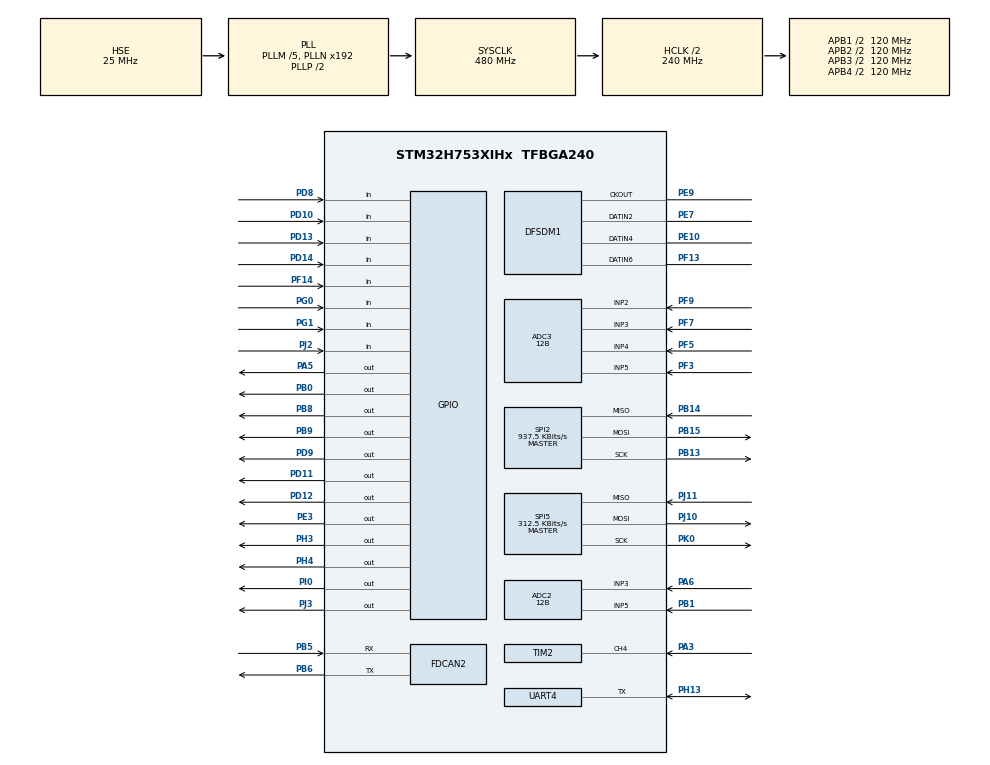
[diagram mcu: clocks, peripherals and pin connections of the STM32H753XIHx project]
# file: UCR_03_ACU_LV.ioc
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ADC2.Channel-0\#ChannelRegularConversion=ADC_CHANNEL_5
ADC2.Channel-1\#ChannelRegularConversion=ADC_CHANNEL_3
ADC2.ClockPrescaler=ADC_CLOCK_ASYNC_DIV256
ADC2.ContinuousConvMode=ENABLE
ADC2.ConversionDataManagement=ADC_CONVERSIONDATA_DMA_CIRCULAR
ADC2.NbrOfConversion=2
ADC2.NbrOfConversionFlag=1
ADC2.OffsetNumber-0\#ChannelRegularConversion=ADC_OFFSET_NONE
ADC2.OffsetNumber-1\#ChannelRegularConversion=ADC_OFFSET_NONE
ADC2.OffsetSignedSaturation-0\#ChannelRegularConversion=DISABLE
ADC2.OffsetSignedSaturation-1\#ChannelRegularConversion=DISABLE
ADC2.Overrun=ADC_OVR_DATA_OVERWRITTEN
ADC2.Rank-0\#ChannelRegularConversion=1
ADC2.Rank-1\#ChannelRegularConversion=2
ADC2.Resolution=ADC_RESOLUTION_12B
ADC2.SamplingTime-0\#ChannelRegularConversion=ADC_SAMPLETIME_16CYCLES_5
ADC2.SamplingTime-1\#ChannelRegularConversion=ADC_SAMPLETIME_16CYCLES_5
ADC3.Channel-0\#ChannelRegularConversion=ADC_CHANNEL_3
ADC3.Channel-1\#ChannelRegularConversion=ADC_CHANNEL_5
ADC3.Channel-2\#ChannelRegularConversion=ADC_CHANNEL_2
ADC3.Channel-3\#ChannelRegularConversion=ADC_CHANNEL_4
ADC3.ClockPrescaler=ADC_CLOCK_ASYNC_DIV256
ADC3.ContinuousConvMode=ENABLE
ADC3.ConversionDataManagement=ADC_CONVERSIONDATA_DMA_CIRCULAR
ADC3.NbrOfConversion=4
ADC3.NbrOfConversionFlag=1
ADC3.OffsetNumber-0\#ChannelRegularConversion=ADC_OFFSET_NONE
ADC3.OffsetNumber-1\#ChannelRegularConversion=ADC_OFFSET_NONE
ADC3.OffsetNumber-2\#ChannelRegularConversion=ADC_OFFSET_NONE
ADC3.OffsetNumber-3\#ChannelRegularConversion=ADC_OFFSET_NONE
ADC3.OffsetSignedSaturation-0\#ChannelRegularConversion=DISABLE
ADC3.OffsetSignedSaturation-1\#ChannelRegularConversion=DISABLE
ADC3.OffsetSignedSaturation-2\#ChannelRegularConversion=DISABLE
ADC3.OffsetSignedSaturation-3\#ChannelRegularConversion=DISABLE
ADC3.Overrun=ADC_OVR_DATA_OVERWRITTEN
ADC3.Rank-0\#ChannelRegularConversion=1
ADC3.Rank-1\#ChannelRegularConversion=2
ADC3.Rank-2\#ChannelRegularConversion=3
ADC3.Rank-3\#ChannelRegularConversion=4
ADC3.Resolution=ADC_RESOLUTION_12B
ADC3.SamplingTime-0\#ChannelRegularConversion=ADC_SAMPLETIME_810CYCLES_5
ADC3.SamplingTime-1\#ChannelRegularConversion=ADC_SAMPLETIME_810CYCLES_5
ADC3.SamplingTime-2\#ChannelRegularConversion=ADC_SAMPLETIME_810CYCLES_5
ADC3.SamplingTime-3\#ChannelRegularConversion=ADC_SAMPLETIME_810CYCLES_5
Bdma.ADC3.0.Direction=DMA_PERIPH_TO_MEMORY
Bdma.ADC3.0.EventEnable=DISABLE
Bdma.ADC3.0.Instance=BDMA_Channel0
Bdma.ADC3.0.MemDataAlignment=DMA_MDATAALIGN_HALFWORD
Bdma.ADC3.0.MemInc=DMA_MINC_ENABLE
Bdma.ADC3.0.Mode=DMA_CIRCULAR
Bdma.ADC3.0.PeriphDataAlignment=DMA_PDATAALIGN_HALFWORD
Bdma.ADC3.0.PeriphInc=DMA_PINC_DISABLE
Bdma.ADC3.0.Polarity=HAL_DMAMUX_REQ_GEN_RISING
Bdma.ADC3.0.Priority=DMA_PRIORITY_LOW
Bdma.ADC3.0.RequestNumber=1
Bdma.ADC3.0.SignalID=NONE
Bdma.ADC3.0.SyncEnable=DISABLE
Bdma.ADC3.0.SyncPolarity=HAL_DMAMUX_SYNC_NO_EVENT
Bdma.ADC3.0.SyncRequestNumber=1
Bdma.ADC3.0.SyncSignalID=NONE
Bdma.Request0=ADC3
Bdma.RequestsNb=1
CORTEX_M7.default_mode_Activation=1
DFSDM1.Divider=30
DFSDM1.DmaMode_reg_FIL0=ENABLE
DFSDM1.DmaMode_reg_FIL1=ENABLE
DFSDM1.DmaMode_reg_FIL2=ENABLE
DFSDM1.Filter_regChannel_FIL0=DFSDM_CHANNEL_2
DFSDM1.Filter_regChannel_FIL1=DFSDM_CHANNEL_4
DFSDM1.Filter_regChannel_FIL2=DFSDM_CHANNEL_6
DFSDM1.Fosr_FIL0=1024
DFSDM1.Fosr_FIL1=1024
DFSDM1.Fosr_FIL2=1024
DFSDM1.Selection=DFSDM_CHANNEL_OUTPUT_CLOCK_SYSTEM
Dma.ADC2.3.Direction=DMA_PERIPH_TO_MEMORY
Dma.ADC2.3.EventEnable=DISABLE
Dma.ADC2.3.FIFOMode=DMA_FIFOMODE_DISABLE
Dma.ADC2.3.Instance=DMA1_Stream3
Dma.ADC2.3.MemDataAlignment=DMA_MDATAALIGN_HALFWORD
Dma.ADC2.3.MemInc=DMA_MINC_ENABLE
Dma.ADC2.3.Mode=DMA_CIRCULAR
Dma.ADC2.3.PeriphDataAlignment=DMA_PDATAALIGN_HALFWORD
Dma.ADC2.3.PeriphInc=DMA_PINC_DISABLE
Dma.ADC2.3.Polarity=HAL_DMAMUX_REQ_GEN_RISING
Dma.ADC2.3.Priority=DMA_PRIORITY_LOW
Dma.ADC2.3.RequestNumber=1
Dma.ADC2.3.SignalID=NONE
Dma.ADC2.3.SyncEnable=DISABLE
Dma.ADC2.3.SyncPolarity=HAL_DMAMUX_SYNC_NO_EVENT
Dma.ADC2.3.SyncRequestNumber=1
Dma.ADC2.3.SyncSignalID=NONE
Dma.DFSDM1_FLT0.0.Direction=DMA_PERIPH_TO_MEMORY
Dma.DFSDM1_FLT0.0.EventEnable=DISABLE
Dma.DFSDM1_FLT0.0.FIFOMode=DMA_FIFOMODE_DISABLE
Dma.DFSDM1_FLT0.0.Instance=DMA1_Stream0
Dma.DFSDM1_FLT0.0.MemDataAlignment=DMA_MDATAALIGN_WORD
Dma.DFSDM1_FLT0.0.MemInc=DMA_MINC_ENABLE
Dma.DFSDM1_FLT0.0.Mode=DMA_CIRCULAR
Dma.DFSDM1_FLT0.0.PeriphDataAlignment=DMA_PDATAALIGN_WORD
Dma.DFSDM1_FLT0.0.PeriphInc=DMA_PINC_DISABLE
Dma.DFSDM1_FLT0.0.Polarity=HAL_DMAMUX_REQ_GEN_RISING
Dma.DFSDM1_FLT0.0.Priority=DMA_PRIORITY_LOW
Dma.DFSDM1_FLT0.0.RequestNumber=1
Dma.DFSDM1_FLT0.0.SignalID=NONE
Dma.DFSDM1_FLT0.0.SyncEnable=DISABLE
Dma.DFSDM1_FLT0.0.SyncPolarity=HAL_DMAMUX_SYNC_NO_EVENT
Dma.DFSDM1_FLT0.0.SyncRequestNumber=1
Dma.DFSDM1_FLT0.0.SyncSignalID=NONE
Dma.DFSDM1_FLT1.1.Direction=DMA_PERIPH_TO_MEMORY
Dma.DFSDM1_FLT1.1.EventEnable=DISABLE
Dma.DFSDM1_FLT1.1.FIFOMode=DMA_FIFOMODE_DISABLE
Dma.DFSDM1_FLT1.1.Instance=DMA1_Stream1
Dma.DFSDM1_FLT1.1.MemDataAlignment=DMA_MDATAALIGN_WORD
Dma.DFSDM1_FLT1.1.MemInc=DMA_MINC_ENABLE
Dma.DFSDM1_FLT1.1.Mode=DMA_CIRCULAR
Dma.DFSDM1_FLT1.1.PeriphDataAlignment=DMA_PDATAALIGN_WORD
Dma.DFSDM1_FLT1.1.PeriphInc=DMA_PINC_DISABLE
Dma.DFSDM1_FLT1.1.Polarity=HAL_DMAMUX_REQ_GEN_RISING
Dma.DFSDM1_FLT1.1.Priority=DMA_PRIORITY_LOW
Dma.DFSDM1_FLT1.1.RequestNumber=1
Dma.DFSDM1_FLT1.1.SignalID=NONE
Dma.DFSDM1_FLT1.1.SyncEnable=DISABLE
Dma.DFSDM1_FLT1.1.SyncPolarity=HAL_DMAMUX_SYNC_NO_EVENT
Dma.DFSDM1_FLT1.1.SyncRequestNumber=1
Dma.DFSDM1_FLT1.1.SyncSignalID=NONE
Dma.DFSDM1_FLT2.2.Direction=DMA_PERIPH_TO_MEMORY
Dma.DFSDM1_FLT2.2.EventEnable=DISABLE
Dma.DFSDM1_FLT2.2.FIFOMode=DMA_FIFOMODE_DISABLE
Dma.DFSDM1_FLT2.2.Instance=DMA1_Stream2
Dma.DFSDM1_FLT2.2.MemDataAlignment=DMA_MDATAALIGN_WORD
Dma.DFSDM1_FLT2.2.MemInc=DMA_MINC_ENABLE
Dma.DFSDM1_FLT2.2.Mode=DMA_CIRCULAR
Dma.DFSDM1_FLT2.2.PeriphDataAlignment=DMA_PDATAALIGN_WORD
Dma.DFSDM1_FLT2.2.PeriphInc=DMA_PINC_DISABLE
Dma.DFSDM1_FLT2.2.Polarity=HAL_DMAMUX_REQ_GEN_RISING
Dma.DFSDM1_FLT2.2.Priority=DMA_PRIORITY_LOW
Dma.DFSDM1_FLT2.2.RequestNumber=1
Dma.DFSDM1_FLT2.2.SignalID=NONE
Dma.DFSDM1_FLT2.2.SyncEnable=DISABLE
Dma.DFSDM1_FLT2.2.SyncPolarity=HAL_DMAMUX_SYNC_NO_EVENT
Dma.DFSDM1_FLT2.2.SyncRequestNumber=1
Dma.DFSDM1_FLT2.2.SyncSignalID=NONE
Dma.Request0=DFSDM1_FLT0
Dma.Request1=DFSDM1_FLT1
Dma.Request2=DFSDM1_FLT2
Dma.Request3=ADC2
FDCAN2.CalculateBaudRateNominal=499999
FDCAN2.CalculateTimeBitNominal=2000
FDCAN2.CalculateTimeQuantumNominal=250.00000000000003
FDCAN2.DataPrescaler=15
FDCAN2.DataSyncJumpWidth=1
FDCAN2.DataTimeSeg1=2
FDCAN2.DataTimeSeg2=1
FDCAN2.FrameFormat=FDCAN_FRAME_FD_BRS
FDCAN2.MessageRAMOffset=0
FDCAN2.Mode=FDCAN_MODE_NORMAL
FDCAN2.NominalPrescaler=30
FDCAN2.NominalSyncJumpWidth=2
FDCAN2.NominalTimeSeg1=5
FDCAN2.NominalTimeSeg2=2
FDCAN2.RxBufferSize=FDCAN_DATA_BYTES_64
FDCAN2.RxFifo0ElmtSize=FDCAN_DATA_BYTES_64
FDCAN2.RxFifo0ElmtsNbr=16
FDCAN2.RxFifo1ElmtSize=FDCAN_DATA_BYTES_64
FDCAN2.RxFifo1ElmtsNbr=16
FDCAN2.TxElmtSize=FDCAN_DATA_BYTES_64
FDCAN2.TxFifoQueueElmtsNbr=16
FREERTOS.Tasks01=TaskManager,24,512,startTaskManager,Default,NULL,Dynamic,NULL,NULL;FastTask,24,512,StartFastTask,Default,NULL,Dynamic,NULL,NULL;MediumTask,24,512,StartMediumTask,Default,NULL,Dynamic,NULL,NULL;SlowTask,24,512,StartSlowTask,Default,NULL,Dynamic,NULL,NULL;CanTx,16,512,StartCanTask,Default,NULL,Dynamic,NULL,NULL;CanRx,17,512,StartCanRx,Default,NULL,Dynamic,NULL,NULL
FREERTOS.configTOTAL_HEAP_SIZE=256000
FREERTOS.configUSE_NEWLIB_REENTRANT=1
Mcu.Family=STM32H7
Mcu.Name=STM32H753XIHx
Mcu.Package=TFBGA240
NVIC.BDMA_Channel0_IRQn=true\:5\:0\:false\:false\:true\:true\:false\:true\:true
NVIC.DMA1_Stream0_IRQn=true\:5\:0\:false\:false\:true\:true\:false\:true\:true
NVIC.DMA1_Stream1_IRQn=true\:5\:0\:false\:false\:true\:true\:false\:true\:true
NVIC.DMA1_Stream2_IRQn=true\:5\:0\:false\:false\:true\:true\:false\:true\:true
NVIC.DMA1_Stream3_IRQn=true\:5\:0\:false\:false\:true\:true\:false\:true\:true
NVIC.FDCAN2_IT0_IRQn=true\:5\:0\:false\:false\:true\:true\:true\:true\:true
NVIC.FDCAN2_IT1_IRQn=true\:5\:0\:false\:false\:true\:true\:true\:true\:true
NVIC.PriorityGroup=NVIC_PRIORITYGROUP_4
NVIC.TIM1_UP_IRQn=true\:15\:0\:false\:false\:true\:false\:false\:true\:true
NVIC.TIM3_IRQn=true\:5\:0\:false\:false\:true\:true\:true\:true\:true
NVIC.TimeBase=TIM1_UP_IRQn
NVIC.TimeBaseIP=TIM1
PA13\ (JTMS/SWDIO).Mode=Serial_Wire
PA13\ (JTMS/SWDIO).Signal=DEBUG_JTMS-SWDIO
PA14\ (JTCK/SWCLK).Mode=Serial_Wire
PA14\ (JTCK/SWCLK).Signal=DEBUG_JTCK-SWCLK
PA3.Signal=S_TIM2_CH4
PA5.Signal=GPIO_Output
PA6.Signal=ADCx_INP3
PB0.Signal=GPIO_Output
PB1.Signal=ADCx_INP5
PB13.Mode=Full_Duplex_Master
PB13.Signal=SPI2_SCK
PB14.Mode=Full_Duplex_Master
PB14.Signal=SPI2_MISO
PB15.Mode=Full_Duplex_Master
PB15.Signal=SPI2_MOSI
PB5.Mode=FDCAN_Activate
PB5.Signal=FDCAN2_RX
PB6.Mode=FDCAN_Activate
PB6.Signal=FDCAN2_TX
PB8.Signal=GPIO_Output
PB9.Signal=GPIO_Output
PC14-OSC32_IN\ (OSC32_IN).Mode=LSE-External-Oscillator
PC14-OSC32_IN\ (OSC32_IN).Signal=RCC_OSC32_IN
PC15-OSC32_OUT\ (OSC32_OUT).Mode=LSE-External-Oscillator
PC15-OSC32_OUT\ (OSC32_OUT).Signal=RCC_OSC32_OUT
PD10.Signal=GPIO_Input
PD11.Signal=GPIO_Output
PD12.Signal=GPIO_Output
PD13.Signal=GPIO_Input
PD14.Signal=GPIO_Input
PD8.Signal=GPIO_Input
PD9.Signal=GPIO_Output
PE10.Signal=S_DATAIN4DFSDM1
PE3.Signal=GPIO_Output
PE7.Signal=S_DATAIN2DFSDM1
PE9.Signal=S_CKOUTDFSDM1
PF13.Signal=S_DATAIN6DFSDM1
PF14.Signal=GPIO_Input
PF3.Mode=IN5-Single-Ended
PF3.Signal=ADC3_INP5
PF5.Mode=IN4-Single-Ended
PF5.Signal=ADC3_INP4
PF7.Mode=IN3-Single-Ended
PF7.Signal=ADC3_INP3
PF9.Mode=IN2-Single-Ended
PF9.Signal=ADC3_INP2
PG0.Signal=GPIO_Input
PG1.Signal=GPIO_Input
PH0-OSC_IN\ (PH0).Mode=HSE-External-Oscillator
PH0-OSC_IN\ (PH0).Signal=RCC_OSC_IN
PH1-OSC_OUT\ (PH1).Mode=HSE-External-Oscillator
PH1-OSC_OUT\ (PH1).Signal=RCC_OSC_OUT
PH13.Mode=Half_duplex(single_wire_mode)
PH13.Signal=UART4_TX
PH3.Signal=GPIO_Output
PH4.Signal=GPIO_Output
PI0.GPIO_ModeDefaultOutputPP=GPIO_MODE_OUTPUT_OD
PI0.GPIO_PuPd=GPIO_NOPULL
PI0.Signal=GPIO_Output
PJ10.Mode=Full_Duplex_Master
PJ10.Signal=SPI5_MOSI
PJ11.Mode=Full_Duplex_Master
PJ11.Signal=SPI5_MISO
PJ2.Signal=GPIO_Input
PJ3.Signal=GPIO_Output
PK0.Mode=Full_Duplex_Master
PK0.Signal=SPI5_SCK
ProjectManager.HeapSize=0x200
ProjectManager.StackSize=0x400
ProjectManager.TargetToolchain=STM32CubeIDE
RCC.ADCFreq_Value=80000000
RCC.APB1Freq_Value=120000000
RCC.APB2Freq_Value=120000000
RCC.APB3Freq_Value=120000000
RCC.APB4Freq_Value=120000000
RCC.CortexFreq_Value=480000000
RCC.D1PPRE=RCC_APB3_DIV2
RCC.D2PPRE1=RCC_APB1_DIV2
RCC.D2PPRE2=RCC_APB2_DIV2
RCC.D3PPRE=RCC_APB4_DIV2
RCC.DIVM1=5
RCC.DIVM2=5
RCC.DIVM3=59
RCC.DIVN1=192
RCC.DIVN2=32
RCC.DIVQ1=8
RCC.HCLKFreq_Value=240000000
RCC.HPRE=RCC_HCLK_DIV2
RCC.PLLSourceVirtual=RCC_PLLSOURCE_HSE
RCC.SYSCLKFreq_VALUE=480000000
RCC.SYSCLKSource=RCC_SYSCLKSOURCE_PLLCLK
RCC.Spi45ClockSelection=RCC_SPI45CLKSOURCE_PLL2
RCC.USBFreq_Value=120000000
SH.ADCx_INP3.0=ADC1_INP3
SH.ADCx_INP3.1=ADC2_INP3,IN3-Single-Ended
SH.ADCx_INP5.0=ADC1_INP5
SH.ADCx_INP5.1=ADC2_INP5,IN5-Single-Ended
SH.S_CKOUTDFSDM1.0=DFSDM1_CKOUT,CKOUT
SH.S_CKOUTDFSDM1.1=DFSDM1_CKOUT,PDM_SPI_input_from_ch2_and_internal_clock
SH.S_CKOUTDFSDM1.2=DFSDM1_CKOUT,PDM_SPI_input_from_ch4_and_internal_clock
SH.S_CKOUTDFSDM1.3=DFSDM1_CKOUT,PDM_SPI_input_from_ch6_and_internal_clock
SH.S_DATAIN2DFSDM1.0=DFSDM1_DATIN2,PDM_SPI_input_from_ch2_and_internal_clock
SH.S_DATAIN4DFSDM1.0=DFSDM1_DATIN4,PDM_SPI_input_from_ch4_and_internal_clock
SH.S_DATAIN6DFSDM1.0=DFSDM1_DATIN6,PDM_SPI_input_from_ch6_and_internal_clock
SH.S_TIM2_CH4.0=TIM2_CH4,Input_Capture4_from_TI4
SPI2.BaudRatePrescaler=SPI_BAUDRATEPRESCALER_128
SPI2.CalculateBaudRate=937.5 KBits/s
SPI2.DataSize=SPI_DATASIZE_8BIT
SPI2.Direction=SPI_DIRECTION_2LINES
SPI2.Mode=SPI_MODE_MASTER
SPI2.VirtualType=VM_MASTER
SPI5.BaudRatePrescaler=SPI_BAUDRATEPRESCALER_256
SPI5.CalculateBaudRate=312.5 KBits/s
SPI5.DataSize=SPI_DATASIZE_8BIT
SPI5.Direction=SPI_DIRECTION_2LINES
SPI5.Mode=SPI_MODE_MASTER
SPI5.VirtualType=VM_MASTER
TIM2.Channel-Input_Capture4_from_TI4=TIM_CHANNEL_4
TIM3.ClockDivision=TIM_CLOCKDIVISION_DIV4
TIM3.Prescaler=65535
VP_FREERTOS_VS_CMSIS_V2.Mode=CMSIS_V2
VP_MEMORYMAP_VS_MEMORYMAP.Mode=CurAppReg
VP_SYS_VS_tim1.Mode=TIM1
VP_TIM3_VS_ClockSourceINT.Mode=Internal
VREF+.Mode=InternalMode
VREF+.Signal=VREFBUF_OUT
board=custom

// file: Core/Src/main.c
/* USER CODE BEGIN Header */
/**
  ******************************************************************************
  * @file           : main.c
  * @brief          : Main program body
  ******************************************************************************
  * @attention
  *
  * Copyright (c) 2026 STMicroelectronics.
  * All rights reserved.
  *
  * This software is licensed under terms that can be found in the LICENSE file
  * in the root directory of this software component.
  * If no LICENSE file comes with this software, it is provided AS-IS.
  *
  ******************************************************************************
  */
/* USER CODE END Header */
#include "main.h"
#include "cmsis_os.h"

/* USER CODE BEGIN Includes */
#include "fast_task.h"
#include "medium_task.h"
#include "slow_task.h"
#include "task_manager.h"
#include "task_can_tx.h"
#include "task_can_rx.h"
#include "can_typ_common.h"
/* USER CODE END Includes */

ADC_HandleTypeDef hadc2;
ADC_HandleTypeDef hadc3;
DMA_HandleTypeDef hdma_adc2;
DMA_HandleTypeDef hdma_adc3;

DFSDM_Filter_HandleTypeDef hdfsdm1_filter0;
DFSDM_Filter_HandleTypeDef hdfsdm1_filter1;
DFSDM_Filter_HandleTypeDef hdfsdm1_filter2;
DFSDM_Channel_HandleTypeDef hdfsdm1_channel2;
DFSDM_Channel_HandleTypeDef hdfsdm1_channel4;
DFSDM_Channel_HandleTypeDef hdfsdm1_channel6;
DMA_HandleTypeDef hdma_dfsdm1_flt0;
DMA_HandleTypeDef hdma_dfsdm1_flt1;
DMA_HandleTypeDef hdma_dfsdm1_flt2;

FDCAN_HandleTypeDef hfdcan2;

SPI_HandleTypeDef hspi2;
SPI_HandleTypeDef hspi5;

TIM_HandleTypeDef htim2;
TIM_HandleTypeDef htim3;

UART_HandleTypeDef huart4;

/* Definitions for TaskManager */
osThreadId_t TaskManagerHandle;
const osThreadAttr_t TaskManager_attributes = {
  .name = "TaskManager",
  .stack_size = 512 * 4,
  .priority = (osPriority_t) osPriorityNormal,
};
/* Definitions for FastTask */
osThreadId_t FastTaskHandle;
const osThreadAttr_t FastTask_attributes = {
  .name = "FastTask",
  .stack_size = 512 * 4,
  .priority = (osPriority_t) osPriorityNormal,
};
/* Definitions for MediumTask */
osThreadId_t MediumTaskHandle;
const osThreadAttr_t MediumTask_attributes = {
  .name = "MediumTask",
  .stack_size = 512 * 4,
  .priority = (osPriority_t) osPriorityNormal,
};
/* Definitions for SlowTask */
osThreadId_t SlowTaskHandle;
const osThreadAttr_t SlowTask_attributes = {
  .name = "SlowTask",
  .stack_size = 512 * 4,
  .priority = (osPriority_t) osPriorityNormal,
};
/* Definitions for CanTx */
osThreadId_t CanTxHandle;
const osThreadAttr_t CanTx_attributes = {
  .name = "CanTx",
  .stack_size = 512 * 4,
  .priority = (osPriority_t) osPriorityBelowNormal,
};
/* Definitions for CanRx */
osThreadId_t CanRxHandle;
const osThreadAttr_t CanRx_attributes = {
  .name = "CanRx",
  .stack_size = 512 * 4,
  .priority = (osPriority_t) osPriorityBelowNormal1,
};
/* USER CODE BEGIN PV */

extern uint8_t precharge_time;

osMessageQueueId_t Can1TxQueueHandle;
const osMessageQueueAttr_t Can1TxQueue_attributes = {
  .name = "Can1TxQueue"
};

osMessageQueueId_t Can1RxQueueHandle;
const osMessageQueueAttr_t Can1RxQueue_attributes = {
  .name = "Can1RxQueue"
};

osMessageQueueId_t Can2TxQueueHandle;
const osMessageQueueAttr_t Can2TxQueue_attributes = {
  .name = "Can2TxQueue"
};

osMessageQueueId_t Can2RxQueueHandle;
const osMessageQueueAttr_t Can2RxQueue_attributes = {
  .name = "Can2RxQueue"
};
/* USER CODE END PV */

void SystemClock_Config(void);
void PeriphCommonClock_Config(void);
static void MPU_Config(void);
static void MX_GPIO_Init(void);
static void MX_DMA_Init(void);
static void MX_BDMA_Init(void);
static void MX_ADC2_Init(void);
static void MX_ADC3_Init(void);
static void MX_DFSDM1_Init(void);
static void MX_FDCAN2_Init(void);
static void MX_SPI2_Init(void);
static void MX_SPI5_Init(void);
static void MX_UART4_Init(void);
static void MX_TIM2_Init(void);
static void MX_TIM3_Init(void);
void startTaskManager(void *argument);
void StartFastTask(void *argument);
void StartMediumTask(void *argument);
void StartSlowTask(void *argument);
void StartCanTask(void *argument);
void StartCanRx(void *argument);

int main(void)
{

  /* MPU Configuration--------------------------------------------------------*/
  MPU_Config();

  /* MCU Configuration--------------------------------------------------------*/

  /* Reset of all peripherals, Initializes the Flash interface and the Systick. */
  HAL_Init();

  /* Configure the system clock */
  SystemClock_Config();

  /* Configure the peripherals common clocks */
  PeriphCommonClock_Config();

  /* Initialize all configured peripherals */
  MX_GPIO_Init();
  MX_DMA_Init();
  MX_BDMA_Init();
  MX_ADC2_Init();
  MX_ADC3_Init();
  MX_DFSDM1_Init();
  MX_FDCAN2_Init();
  MX_SPI2_Init();
  MX_SPI5_Init();
  MX_UART4_Init();
  MX_TIM2_Init();
  MX_TIM3_Init();
  /* USER CODE BEGIN 2 */

//  HAL_FDCAN_Start(&hfdcan2);
//  HAL_FDCAN_ActivateNotification(&hfdcan2, FDCAN_IT_RX_FIFO0_NEW_MESSAGE, 0);
//
//  uint8_t test[64] = {0};
//  test[0] = 0xFF;
//
//
//  FDCAN_TxHeaderTypeDef tx_header;
//
//  tx_header.Identifier = 300;
//  tx_header.IdType = FDCAN_STANDARD_ID;
//  tx_header.TxFrameType = FDCAN_DATA_FRAME;
//  tx_header.DataLength = FDCAN_DLC_BYTES_1;
//  tx_header.ErrorStateIndicator = FDCAN_ESI_ACTIVE;
//  tx_header.BitRateSwitch = FDCAN_BRS_ON;
//  tx_header.FDFormat =  FDCAN_FD_CAN;
//  tx_header.TxEventFifoControl = FDCAN_NO_TX_EVENTS;
//  tx_header.MessageMarker = 0;
//
//  while(1)
//  {
//	  HAL_FDCAN_AddMessageToTxFifoQ(&hfdcan2, &tx_header, (uint8_t *)test);
//	  HAL_Delay(100);
//  }

  /* USER CODE END 2 */

  /* Init scheduler */
  osKernelInitialize();

  /* USER CODE BEGIN RTOS_QUEUES */
  Can1TxQueueHandle = osMessageQueueNew (16, sizeof(can_msg_t), &Can1TxQueue_attributes);
  Can1RxQueueHandle = osMessageQueueNew (16, sizeof(can_msg_t), &Can1RxQueue_attributes);

  Can2TxQueueHandle = osMessageQueueNew (16, sizeof(can_msg_t), &Can2TxQueue_attributes);
  Can2RxQueueHandle = osMessageQueueNew (16, sizeof(can_msg_t), &Can2RxQueue_attributes);
  /* USER CODE END RTOS_QUEUES */

  /* Create the thread(s) */
  /* creation of TaskManager */
  TaskManagerHandle = osThreadNew(startTaskManager, NULL, &TaskManager_attributes);

  /* creation of FastTask */
  FastTaskHandle = osThreadNew(StartFastTask, NULL, &FastTask_attributes);

  /* creation of MediumTask */
  MediumTaskHandle = osThreadNew(StartMediumTask, NULL, &MediumTask_attributes);

  /* creation of SlowTask */
  SlowTaskHandle = osThreadNew(StartSlowTask, NULL, &SlowTask_attributes);

  /* creation of CanTx */
  CanTxHandle = osThreadNew(StartCanTask, NULL, &CanTx_attributes);

  /* creation of CanRx */
  CanRxHandle = osThreadNew(StartCanRx, NULL, &CanRx_attributes);

  /* Start scheduler */
  osKernelStart();

  /* We should never get here as control is now taken by the scheduler */

  /* Infinite loop */
  while (1)
  {

  }
}

void SystemClock_Config(void)
{
  RCC_OscInitTypeDef RCC_OscInitStruct = {0};
  RCC_ClkInitTypeDef RCC_ClkInitStruct = {0};

  /** Supply configuration update enable
  */
  HAL_PWREx_ConfigSupply(PWR_LDO_SUPPLY);

  /** Configure the main internal regulator output voltage
  */
  __HAL_PWR_VOLTAGESCALING_CONFIG(PWR_REGULATOR_VOLTAGE_SCALE0);

  while(!__HAL_PWR_GET_FLAG(PWR_FLAG_VOSRDY)) {}

  /** Initializes the RCC Oscillators according to the specified parameters
  * in the RCC_OscInitTypeDef structure.
  */
  RCC_OscInitStruct.OscillatorType = RCC_OSCILLATORTYPE_HSE;
  RCC_OscInitStruct.HSEState = RCC_HSE_ON;
  RCC_OscInitStruct.PLL.PLLState = RCC_PLL_ON;
  RCC_OscInitStruct.PLL.PLLSource = RCC_PLLSOURCE_HSE;
  RCC_OscInitStruct.PLL.PLLM = 5;
  RCC_OscInitStruct.PLL.PLLN = 192;
  RCC_OscInitStruct.PLL.PLLP = 2;
  RCC_OscInitStruct.PLL.PLLQ = 8;
  RCC_OscInitStruct.PLL.PLLR = 2;
  RCC_OscInitStruct.PLL.PLLRGE = RCC_PLL1VCIRANGE_2;
  RCC_OscInitStruct.PLL.PLLVCOSEL = RCC_PLL1VCOWIDE;
  RCC_OscInitStruct.PLL.PLLFRACN = 0;
  if (HAL_RCC_OscConfig(&RCC_OscInitStruct) != HAL_OK)
  {
    Error_Handler();
  }

  /** Initializes the CPU, AHB and APB buses clocks
  */
  RCC_ClkInitStruct.ClockType = RCC_CLOCKTYPE_HCLK|RCC_CLOCKTYPE_SYSCLK
                              |RCC_CLOCKTYPE_PCLK1|RCC_CLOCKTYPE_PCLK2
                              |RCC_CLOCKTYPE_D3PCLK1|RCC_CLOCKTYPE_D1PCLK1;
  RCC_ClkInitStruct.SYSCLKSource = RCC_SYSCLKSOURCE_PLLCLK;
  RCC_ClkInitStruct.SYSCLKDivider = RCC_SYSCLK_DIV1;
  RCC_ClkInitStruct.AHBCLKDivider = RCC_HCLK_DIV2;
  RCC_ClkInitStruct.APB3CLKDivider = RCC_APB3_DIV2;
  RCC_ClkInitStruct.APB1CLKDivider = RCC_APB1_DIV2;
  RCC_ClkInitStruct.APB2CLKDivider = RCC_APB2_DIV2;
  RCC_ClkInitStruct.APB4CLKDivider = RCC_APB4_DIV2;

  if (HAL_RCC_ClockConfig(&RCC_ClkInitStruct, FLASH_LATENCY_4) != HAL_OK)
  {
    Error_Handler();
  }
}

void PeriphCommonClock_Config(void)
{
  RCC_PeriphCLKInitTypeDef PeriphClkInitStruct = {0};

  /** Initializes the peripherals clock
  */
  PeriphClkInitStruct.PeriphClockSelection = RCC_PERIPHCLK_ADC|RCC_PERIPHCLK_SPI5;
  PeriphClkInitStruct.PLL2.PLL2M = 5;
  PeriphClkInitStruct.PLL2.PLL2N = 32;
  PeriphClkInitStruct.PLL2.PLL2P = 2;
  PeriphClkInitStruct.PLL2.PLL2Q = 2;
  PeriphClkInitStruct.PLL2.PLL2R = 2;
  PeriphClkInitStruct.PLL2.PLL2RGE = RCC_PLL2VCIRANGE_2;
  PeriphClkInitStruct.PLL2.PLL2VCOSEL = RCC_PLL2VCOMEDIUM;
  PeriphClkInitStruct.PLL2.PLL2FRACN = 0;
  PeriphClkInitStruct.Spi45ClockSelection = RCC_SPI45CLKSOURCE_PLL2;
  PeriphClkInitStruct.AdcClockSelection = RCC_ADCCLKSOURCE_PLL2;
  if (HAL_RCCEx_PeriphCLKConfig(&PeriphClkInitStruct) != HAL_OK)
  {
    Error_Handler();
  }
}

static void MX_ADC2_Init(void)
{

  ADC_ChannelConfTypeDef sConfig = {0};

  /** Common config
  */
  hadc2.Instance = ADC2;
  hadc2.Init.ClockPrescaler = ADC_CLOCK_ASYNC_DIV256;
  hadc2.Init.Resolution = ADC_RESOLUTION_12B;
  hadc2.Init.ScanConvMode = ADC_SCAN_ENABLE;
  hadc2.Init.EOCSelection = ADC_EOC_SINGLE_CONV;
  hadc2.Init.LowPowerAutoWait = DISABLE;
  hadc2.Init.ContinuousConvMode = ENABLE;
  hadc2.Init.NbrOfConversion = 2;
  hadc2.Init.DiscontinuousConvMode = DISABLE;
  hadc2.Init.ExternalTrigConv = ADC_SOFTWARE_START;
  hadc2.Init.ExternalTrigConvEdge = ADC_EXTERNALTRIGCONVEDGE_NONE;
  hadc2.Init.ConversionDataManagement = ADC_CONVERSIONDATA_DMA_CIRCULAR;
  hadc2.Init.Overrun = ADC_OVR_DATA_OVERWRITTEN;
  hadc2.Init.LeftBitShift = ADC_LEFTBITSHIFT_NONE;
  hadc2.Init.OversamplingMode = DISABLE;
  hadc2.Init.Oversampling.Ratio = 1;
  if (HAL_ADC_Init(&hadc2) != HAL_OK)
  {
    Error_Handler();
  }

  /** Configure Regular Channel
  */
  sConfig.Channel = ADC_CHANNEL_5;
  sConfig.Rank = ADC_REGULAR_RANK_1;
  sConfig.SamplingTime = ADC_SAMPLETIME_16CYCLES_5;
  sConfig.SingleDiff = ADC_SINGLE_ENDED;
  sConfig.OffsetNumber = ADC_OFFSET_NONE;
  sConfig.Offset = 0;
  sConfig.OffsetSignedSaturation = DISABLE;
  if (HAL_ADC_ConfigChannel(&hadc2, &sConfig) != HAL_OK)
  {
    Error_Handler();
  }

  /** Configure Regular Channel
  */
  sConfig.Channel = ADC_CHANNEL_3;
  sConfig.Rank = ADC_REGULAR_RANK_2;
  if (HAL_ADC_ConfigChannel(&hadc2, &sConfig) != HAL_OK)
  {
    Error_Handler();
  }

}

static void MX_ADC3_Init(void)
{

  ADC_ChannelConfTypeDef sConfig = {0};

  /** Common config
  */
  hadc3.Instance = ADC3;
  hadc3.Init.ClockPrescaler = ADC_CLOCK_ASYNC_DIV256;
  hadc3.Init.Resolution = ADC_RESOLUTION_12B;
  hadc3.Init.ScanConvMode = ADC_SCAN_ENABLE;
  hadc3.Init.EOCSelection = ADC_EOC_SINGLE_CONV;
  hadc3.Init.LowPowerAutoWait = DISABLE;
  hadc3.Init.ContinuousConvMode = ENABLE;
  hadc3.Init.NbrOfConversion = 4;
  hadc3.Init.DiscontinuousConvMode = DISABLE;
  hadc3.Init.ExternalTrigConv = ADC_SOFTWARE_START;
  hadc3.Init.ExternalTrigConvEdge = ADC_EXTERNALTRIGCONVEDGE_NONE;
  hadc3.Init.ConversionDataManagement = ADC_CONVERSIONDATA_DMA_CIRCULAR;
  hadc3.Init.Overrun = ADC_OVR_DATA_OVERWRITTEN;
  hadc3.Init.LeftBitShift = ADC_LEFTBITSHIFT_NONE;
  hadc3.Init.OversamplingMode = DISABLE;
  hadc3.Init.Oversampling.Ratio = 1;
  if (HAL_ADC_Init(&hadc3) != HAL_OK)
  {
    Error_Handler();
  }

  /** Configure Regular Channel
  */
  sConfig.Channel = ADC_CHANNEL_3;
  sConfig.Rank = ADC_REGULAR_RANK_1;
  sConfig.SamplingTime = ADC_SAMPLETIME_810CYCLES_5;
  sConfig.SingleDiff = ADC_SINGLE_ENDED;
  sConfig.OffsetNumber = ADC_OFFSET_NONE;
  sConfig.Offset = 0;
  sConfig.OffsetSignedSaturation = DISABLE;
  if (HAL_ADC_ConfigChannel(&hadc3, &sConfig) != HAL_OK)
  {
    Error_Handler();
  }

  /** Configure Regular Channel
  */
  sConfig.Channel = ADC_CHANNEL_5;
  sConfig.Rank = ADC_REGULAR_RANK_2;
  if (HAL_ADC_ConfigChannel(&hadc3, &sConfig) != HAL_OK)
  {
    Error_Handler();
  }

  /** Configure Regular Channel
  */
  sConfig.Channel = ADC_CHANNEL_2;
  sConfig.Rank = ADC_REGULAR_RANK_3;
  if (HAL_ADC_ConfigChannel(&hadc3, &sConfig) != HAL_OK)
  {
    Error_Handler();
  }

  /** Configure Regular Channel
  */
  sConfig.Channel = ADC_CHANNEL_4;
  sConfig.Rank = ADC_REGULAR_RANK_4;
  if (HAL_ADC_ConfigChannel(&hadc3, &sConfig) != HAL_OK)
  {
    Error_Handler();
  }

}

static void MX_DFSDM1_Init(void)
{

  hdfsdm1_filter0.Instance = DFSDM1_Filter0;
  hdfsdm1_filter0.Init.RegularParam.Trigger = DFSDM_FILTER_SW_TRIGGER;
  hdfsdm1_filter0.Init.RegularParam.FastMode = DISABLE;
  hdfsdm1_filter0.Init.RegularParam.DmaMode = ENABLE;
  hdfsdm1_filter0.Init.FilterParam.SincOrder = DFSDM_FILTER_FASTSINC_ORDER;
  hdfsdm1_filter0.Init.FilterParam.Oversampling = 1024;
  hdfsdm1_filter0.Init.FilterParam.IntOversampling = 1;
  if (HAL_DFSDM_FilterInit(&hdfsdm1_filter0) != HAL_OK)
  {
    Error_Handler();
  }
  hdfsdm1_filter1.Instance = DFSDM1_Filter1;
  hdfsdm1_filter1.Init.RegularParam.Trigger = DFSDM_FILTER_SW_TRIGGER;
  hdfsdm1_filter1.Init.RegularParam.FastMode = DISABLE;
  hdfsdm1_filter1.Init.RegularParam.DmaMode = ENABLE;
  hdfsdm1_filter1.Init.FilterParam.SincOrder = DFSDM_FILTER_FASTSINC_ORDER;
  hdfsdm1_filter1.Init.FilterParam.Oversampling = 1024;
  hdfsdm1_filter1.Init.FilterParam.IntOversampling = 1;
  if (HAL_DFSDM_FilterInit(&hdfsdm1_filter1) != HAL_OK)
  {
    Error_Handler();
  }
  hdfsdm1_filter2.Instance = DFSDM1_Filter2;
  hdfsdm1_filter2.Init.RegularParam.Trigger = DFSDM_FILTER_SW_TRIGGER;
  hdfsdm1_filter2.Init.RegularParam.FastMode = DISABLE;
  hdfsdm1_filter2.Init.RegularParam.DmaMode = ENABLE;
  hdfsdm1_filter2.Init.FilterParam.SincOrder = DFSDM_FILTER_FASTSINC_ORDER;
  hdfsdm1_filter2.Init.FilterParam.Oversampling = 1024;
  hdfsdm1_filter2.Init.FilterParam.IntOversampling = 1;
  if (HAL_DFSDM_FilterInit(&hdfsdm1_filter2) != HAL_OK)
  {
    Error_Handler();
  }
  hdfsdm1_channel2.Instance = DFSDM1_Channel2;
  hdfsdm1_channel2.Init.OutputClock.Activation = ENABLE;
  hdfsdm1_channel2.Init.OutputClock.Selection = DFSDM_CHANNEL_OUTPUT_CLOCK_SYSTEM;
  hdfsdm1_channel2.Init.OutputClock.Divider = 30;
  hdfsdm1_channel2.Init.Input.Multiplexer = DFSDM_CHANNEL_EXTERNAL_INPUTS;
  hdfsdm1_channel2.Init.Input.DataPacking = DFSDM_CHANNEL_STANDARD_MODE;
  hdfsdm1_channel2.Init.Input.Pins = DFSDM_CHANNEL_SAME_CHANNEL_PINS;
  hdfsdm1_channel2.Init.SerialInterface.Type = DFSDM_CHANNEL_SPI_RISING;
  hdfsdm1_channel2.Init.SerialInterface.SpiClock = DFSDM_CHANNEL_SPI_CLOCK_INTERNAL;
  hdfsdm1_channel2.Init.Awd.FilterOrder = DFSDM_CHANNEL_FASTSINC_ORDER;
  hdfsdm1_channel2.Init.Awd.Oversampling = 1;
  hdfsdm1_channel2.Init.Offset = 0;
  hdfsdm1_channel2.Init.RightBitShift = 0x00;
  if (HAL_DFSDM_ChannelInit(&hdfsdm1_channel2) != HAL_OK)
  {
    Error_Handler();
  }
  hdfsdm1_channel4.Instance = DFSDM1_Channel4;
  hdfsdm1_channel4.Init.OutputClock.Activation = ENABLE;
  hdfsdm1_channel4.Init.OutputClock.Selection = DFSDM_CHANNEL_OUTPUT_CLOCK_SYSTEM;
  hdfsdm1_channel4.Init.OutputClock.Divider = 30;
  hdfsdm1_channel4.Init.Input.Multiplexer = DFSDM_CHANNEL_EXTERNAL_INPUTS;
  hdfsdm1_channel4.Init.Input.DataPacking = DFSDM_CHANNEL_STANDARD_MODE;
  hdfsdm1_channel4.Init.Input.Pins = DFSDM_CHANNEL_SAME_CHANNEL_PINS;
  hdfsdm1_channel4.Init.SerialInterface.Type = DFSDM_CHANNEL_SPI_RISING;
  hdfsdm1_channel4.Init.SerialInterface.SpiClock = DFSDM_CHANNEL_SPI_CLOCK_INTERNAL;
  hdfsdm1_channel4.Init.Awd.FilterOrder = DFSDM_CHANNEL_FASTSINC_ORDER;
  hdfsdm1_channel4.Init.Awd.Oversampling = 1;
  hdfsdm1_channel4.Init.Offset = 0;
  hdfsdm1_channel4.Init.RightBitShift = 0x00;
  if (HAL_DFSDM_ChannelInit(&hdfsdm1_channel4) != HAL_OK)
  {
    Error_Handler();
  }
  hdfsdm1_channel6.Instance = DFSDM1_Channel6;
  hdfsdm1_channel6.Init.OutputClock.Activation = ENABLE;
  hdfsdm1_channel6.Init.OutputClock.Selection = DFSDM_CHANNEL_OUTPUT_CLOCK_SYSTEM;
  hdfsdm1_channel6.Init.OutputClock.Divider = 30;
  hdfsdm1_channel6.Init.Input.Multiplexer = DFSDM_CHANNEL_EXTERNAL_INPUTS;
  hdfsdm1_channel6.Init.Input.DataPacking = DFSDM_CHANNEL_STANDARD_MODE;
  hdfsdm1_channel6.Init.Input.Pins = DFSDM_CHANNEL_SAME_CHANNEL_PINS;
  hdfsdm1_channel6.Init.SerialInterface.Type = DFSDM_CHANNEL_SPI_RISING;
  hdfsdm1_channel6.Init.SerialInterface.SpiClock = DFSDM_CHANNEL_SPI_CLOCK_INTERNAL;
  hdfsdm1_channel6.Init.Awd.FilterOrder = DFSDM_CHANNEL_FASTSINC_ORDER;
  hdfsdm1_channel6.Init.Awd.Oversampling = 1;
  hdfsdm1_channel6.Init.Offset = 0;
  hdfsdm1_channel6.Init.RightBitShift = 0x00;
  if (HAL_DFSDM_ChannelInit(&hdfsdm1_channel6) != HAL_OK)
  {
    Error_Handler();
  }
  if (HAL_DFSDM_FilterConfigRegChannel(&hdfsdm1_filter0, DFSDM_CHANNEL_2, DFSDM_CONTINUOUS_CONV_ON) != HAL_OK)
  {
    Error_Handler();
  }
  if (HAL_DFSDM_FilterConfigRegChannel(&hdfsdm1_filter1, DFSDM_CHANNEL_4, DFSDM_CONTINUOUS_CONV_ON) != HAL_OK)
  {
    Error_Handler();
  }
  if (HAL_DFSDM_FilterConfigRegChannel(&hdfsdm1_filter2, DFSDM_CHANNEL_6, DFSDM_CONTINUOUS_CONV_ON) != HAL_OK)
  {
    Error_Handler();
  }

}

static void MX_FDCAN2_Init(void)
{

  hfdcan2.Instance = FDCAN2;
  hfdcan2.Init.FrameFormat = FDCAN_FRAME_FD_BRS;
  hfdcan2.Init.Mode = FDCAN_MODE_NORMAL;
  hfdcan2.Init.AutoRetransmission = DISABLE;
  hfdcan2.Init.TransmitPause = DISABLE;
  hfdcan2.Init.ProtocolException = DISABLE;
  hfdcan2.Init.NominalPrescaler = 30;
  hfdcan2.Init.NominalSyncJumpWidth = 2;
  hfdcan2.Init.NominalTimeSeg1 = 5;
  hfdcan2.Init.NominalTimeSeg2 = 2;
  hfdcan2.Init.DataPrescaler = 15;
  hfdcan2.Init.DataSyncJumpWidth = 1;
  hfdcan2.Init.DataTimeSeg1 = 2;
  hfdcan2.Init.DataTimeSeg2 = 1;
  hfdcan2.Init.MessageRAMOffset = 0;
  hfdcan2.Init.StdFiltersNbr = 0;
  hfdcan2.Init.ExtFiltersNbr = 0;
  hfdcan2.Init.RxFifo0ElmtsNbr = 16;
  hfdcan2.Init.RxFifo0ElmtSize = FDCAN_DATA_BYTES_64;
  hfdcan2.Init.RxFifo1ElmtsNbr = 16;
  hfdcan2.Init.RxFifo1ElmtSize = FDCAN_DATA_BYTES_64;
  hfdcan2.Init.RxBuffersNbr = 0;
  hfdcan2.Init.RxBufferSize = FDCAN_DATA_BYTES_64;
  hfdcan2.Init.TxEventsNbr = 0;
  hfdcan2.Init.TxBuffersNbr = 0;
  hfdcan2.Init.TxFifoQueueElmtsNbr = 16;
  hfdcan2.Init.TxFifoQueueMode = FDCAN_TX_FIFO_OPERATION;
  hfdcan2.Init.TxElmtSize = FDCAN_DATA_BYTES_64;
  if (HAL_FDCAN_Init(&hfdcan2) != HAL_OK)
  {
    Error_Handler();
  }

}

static void MX_SPI2_Init(void)
{

  /* SPI2 parameter configuration*/
  hspi2.Instance = SPI2;
  hspi2.Init.Mode = SPI_MODE_MASTER;
  hspi2.Init.Direction = SPI_DIRECTION_2LINES;
  hspi2.Init.DataSize = SPI_DATASIZE_8BIT;
  hspi2.Init.CLKPolarity = SPI_POLARITY_LOW;
  hspi2.Init.CLKPhase = SPI_PHASE_1EDGE;
  hspi2.Init.NSS = SPI_NSS_SOFT;
  hspi2.Init.BaudRatePrescaler = SPI_BAUDRATEPRESCALER_128;
  hspi2.Init.FirstBit = SPI_FIRSTBIT_MSB;
  hspi2.Init.TIMode = SPI_TIMODE_DISABLE;
  hspi2.Init.CRCCalculation = SPI_CRCCALCULATION_DISABLE;
  hspi2.Init.CRCPolynomial = 0x0;
  hspi2.Init.NSSPMode = SPI_NSS_PULSE_ENABLE;
  hspi2.Init.NSSPolarity = SPI_NSS_POLARITY_LOW;
  hspi2.Init.FifoThreshold = SPI_FIFO_THRESHOLD_01DATA;
  hspi2.Init.TxCRCInitializationPattern = SPI_CRC_INITIALIZATION_ALL_ZERO_PATTERN;
  hspi2.Init.RxCRCInitializationPattern = SPI_CRC_INITIALIZATION_ALL_ZERO_PATTERN;
  hspi2.Init.MasterSSIdleness = SPI_MASTER_SS_IDLENESS_00CYCLE;
  hspi2.Init.MasterInterDataIdleness = SPI_MASTER_INTERDATA_IDLENESS_00CYCLE;
  hspi2.Init.MasterReceiverAutoSusp = SPI_MASTER_RX_AUTOSUSP_DISABLE;
  hspi2.Init.MasterKeepIOState = SPI_MASTER_KEEP_IO_STATE_DISABLE;
  hspi2.Init.IOSwap = SPI_IO_SWAP_DISABLE;
  if (HAL_SPI_Init(&hspi2) != HAL_OK)
  {
    Error_Handler();
  }

}

static void MX_SPI5_Init(void)
{

  /* SPI5 parameter configuration*/
  hspi5.Instance = SPI5;
  hspi5.Init.Mode = SPI_MODE_MASTER;
  hspi5.Init.Direction = SPI_DIRECTION_2LINES;
  hspi5.Init.DataSize = SPI_DATASIZE_8BIT;
  hspi5.Init.CLKPolarity = SPI_POLARITY_LOW;
  hspi5.Init.CLKPhase = SPI_PHASE_1EDGE;
  hspi5.Init.NSS = SPI_NSS_SOFT;
  hspi5.Init.BaudRatePrescaler = SPI_BAUDRATEPRESCALER_256;
  hspi5.Init.FirstBit = SPI_FIRSTBIT_MSB;
  hspi5.Init.TIMode = SPI_TIMODE_DISABLE;
  hspi5.Init.CRCCalculation = SPI_CRCCALCULATION_DISABLE;
  hspi5.Init.CRCPolynomial = 0x0;
  hspi5.Init.NSSPMode = SPI_NSS_PULSE_ENABLE;
  hspi5.Init.NSSPolarity = SPI_NSS_POLARITY_LOW;
  hspi5.Init.FifoThreshold = SPI_FIFO_THRESHOLD_01DATA;
  hspi5.Init.TxCRCInitializationPattern = SPI_CRC_INITIALIZATION_ALL_ZERO_PATTERN;
  hspi5.Init.RxCRCInitializationPattern = SPI_CRC_INITIALIZATION_ALL_ZERO_PATTERN;
  hspi5.Init.MasterSSIdleness = SPI_MASTER_SS_IDLENESS_00CYCLE;
  hspi5.Init.MasterInterDataIdleness = SPI_MASTER_INTERDATA_IDLENESS_00CYCLE;
  hspi5.Init.MasterReceiverAutoSusp = SPI_MASTER_RX_AUTOSUSP_DISABLE;
  hspi5.Init.MasterKeepIOState = SPI_MASTER_KEEP_IO_STATE_DISABLE;
  hspi5.Init.IOSwap = SPI_IO_SWAP_DISABLE;
  if (HAL_SPI_Init(&hspi5) != HAL_OK)
  {
    Error_Handler();
  }

}

static void MX_TIM2_Init(void)
{

  TIM_MasterConfigTypeDef sMasterConfig = {0};
  TIM_IC_InitTypeDef sConfigIC = {0};

  htim2.Instance = TIM2;
  htim2.Init.Prescaler = 0;
  htim2.Init.CounterMode = TIM_COUNTERMODE_UP;
  htim2.Init.Period = 4294967295;
  htim2.Init.ClockDivision = TIM_CLOCKDIVISION_DIV1;
  htim2.Init.AutoReloadPreload = TIM_AUTORELOAD_PRELOAD_DISABLE;
  if (HAL_TIM_IC_Init(&htim2) != HAL_OK)
  {
    Error_Handler();
  }
  sMasterConfig.MasterOutputTrigger = TIM_TRGO_RESET;
  sMasterConfig.MasterSlaveMode = TIM_MASTERSLAVEMODE_DISABLE;
  if (HAL_TIMEx_MasterConfigSynchronization(&htim2, &sMasterConfig) != HAL_OK)
  {
    Error_Handler();
  }
  sConfigIC.ICPolarity = TIM_INPUTCHANNELPOLARITY_RISING;
  sConfigIC.ICSelection = TIM_ICSELECTION_DIRECTTI;
  sConfigIC.ICPrescaler = TIM_ICPSC_DIV1;
  sConfigIC.ICFilter = 0;
  if (HAL_TIM_IC_ConfigChannel(&htim2, &sConfigIC, TIM_CHANNEL_4) != HAL_OK)
  {
    Error_Handler();
  }

}

static void MX_TIM3_Init(void)
{

  TIM_ClockConfigTypeDef sClockSourceConfig = {0};
  TIM_MasterConfigTypeDef sMasterConfig = {0};

  htim3.Instance = TIM3;
  htim3.Init.Prescaler = 65535;
  htim3.Init.CounterMode = TIM_COUNTERMODE_UP;
  htim3.Init.Period = 65535;
  htim3.Init.ClockDivision = TIM_CLOCKDIVISION_DIV4;
  htim3.Init.AutoReloadPreload = TIM_AUTORELOAD_PRELOAD_DISABLE;
  if (HAL_TIM_Base_Init(&htim3) != HAL_OK)
  {
    Error_Handler();
  }
  sClockSourceConfig.ClockSource = TIM_CLOCKSOURCE_INTERNAL;
  if (HAL_TIM_ConfigClockSource(&htim3, &sClockSourceConfig) != HAL_OK)
  {
    Error_Handler();
  }
  sMasterConfig.MasterOutputTrigger = TIM_TRGO_RESET;
  sMasterConfig.MasterSlaveMode = TIM_MASTERSLAVEMODE_DISABLE;
  if (HAL_TIMEx_MasterConfigSynchronization(&htim3, &sMasterConfig) != HAL_OK)
  {
    Error_Handler();
  }

}

static void MX_UART4_Init(void)
{

  huart4.Instance = UART4;
  huart4.Init.BaudRate = 115200;
  huart4.Init.WordLength = UART_WORDLENGTH_8B;
  huart4.Init.StopBits = UART_STOPBITS_1;
  huart4.Init.Parity = UART_PARITY_NONE;
  huart4.Init.Mode = UART_MODE_TX_RX;
  huart4.Init.HwFlowCtl = UART_HWCONTROL_NONE;
  huart4.Init.OverSampling = UART_OVERSAMPLING_16;
  huart4.Init.OneBitSampling = UART_ONE_BIT_SAMPLE_DISABLE;
  huart4.Init.ClockPrescaler = UART_PRESCALER_DIV1;
  huart4.AdvancedInit.AdvFeatureInit = UART_ADVFEATURE_NO_INIT;
  if (HAL_HalfDuplex_Init(&huart4) != HAL_OK)
  {
    Error_Handler();
  }
  if (HAL_UARTEx_SetTxFifoThreshold(&huart4, UART_TXFIFO_THRESHOLD_1_8) != HAL_OK)
  {
    Error_Handler();
  }
  if (HAL_UARTEx_SetRxFifoThreshold(&huart4, UART_RXFIFO_THRESHOLD_1_8) != HAL_OK)
  {
    Error_Handler();
  }
  if (HAL_UARTEx_DisableFifoMode(&huart4) != HAL_OK)
  {
    Error_Handler();
  }

}

static void MX_BDMA_Init(void)
{

  /* DMA controller clock enable */
  __HAL_RCC_BDMA_CLK_ENABLE();

  /* DMA interrupt init */
  /* BDMA_Channel0_IRQn interrupt configuration */
  HAL_NVIC_SetPriority(BDMA_Channel0_IRQn, 5, 0);
  HAL_NVIC_EnableIRQ(BDMA_Channel0_IRQn);

}

static void MX_DMA_Init(void)
{

  /* DMA controller clock enable */
  __HAL_RCC_DMA1_CLK_ENABLE();

  /* DMA interrupt init */
  /* DMA1_Stream0_IRQn interrupt configuration */
  HAL_NVIC_SetPriority(DMA1_Stream0_IRQn, 5, 0);
  HAL_NVIC_EnableIRQ(DMA1_Stream0_IRQn);
  /* DMA1_Stream1_IRQn interrupt configuration */
  HAL_NVIC_SetPriority(DMA1_Stream1_IRQn, 5, 0);
  HAL_NVIC_EnableIRQ(DMA1_Stream1_IRQn);
  /* DMA1_Stream2_IRQn interrupt configuration */
  HAL_NVIC_SetPriority(DMA1_Stream2_IRQn, 5, 0);
  HAL_NVIC_EnableIRQ(DMA1_Stream2_IRQn);
  /* DMA1_Stream3_IRQn interrupt configuration */
  HAL_NVIC_SetPriority(DMA1_Stream3_IRQn, 5, 0);
  HAL_NVIC_EnableIRQ(DMA1_Stream3_IRQn);

}

static void MX_GPIO_Init(void)
{
  GPIO_InitTypeDef GPIO_InitStruct = {0};

  /* GPIO Ports Clock Enable */
  __HAL_RCC_GPIOB_CLK_ENABLE();
  __HAL_RCC_GPIOI_CLK_ENABLE();
  __HAL_RCC_GPIOA_CLK_ENABLE();
  __HAL_RCC_GPIOC_CLK_ENABLE();
  __HAL_RCC_GPIOE_CLK_ENABLE();
  __HAL_RCC_GPIOH_CLK_ENABLE();
  __HAL_RCC_GPIOF_CLK_ENABLE();
  __HAL_RCC_GPIOK_CLK_ENABLE();
  __HAL_RCC_GPIOJ_CLK_ENABLE();
  __HAL_RCC_GPIOD_CLK_ENABLE();
  __HAL_RCC_GPIOG_CLK_ENABLE();

  /*Configure GPIO pin Output Level */
  HAL_GPIO_WritePin(GPIOI, GPIO_PIN_0, GPIO_PIN_RESET);

  /*Configure GPIO pin Output Level */
  HAL_GPIO_WritePin(GPIOE, GPIO_PIN_3, GPIO_PIN_RESET);

  /*Configure GPIO pin Output Level */
  HAL_GPIO_WritePin(GPIOB, GPIO_PIN_9|GPIO_PIN_8|GPIO_PIN_0, GPIO_PIN_RESET);

  /*Configure GPIO pin Output Level */
  HAL_GPIO_WritePin(GPIOH, GPIO_PIN_3|GPIO_PIN_4, GPIO_PIN_RESET);

  /*Configure GPIO pin Output Level */
  HAL_GPIO_WritePin(GPIOD, GPIO_PIN_11|GPIO_PIN_12|GPIO_PIN_9, GPIO_PIN_RESET);

  /*Configure GPIO pin Output Level */
  HAL_GPIO_WritePin(GPIOA, GPIO_PIN_5, GPIO_PIN_RESET);

  /*Configure GPIO pin Output Level */
  HAL_GPIO_WritePin(GPIOJ, GPIO_PIN_3, GPIO_PIN_RESET);

  /*Configure GPIO pin : PI0 */
  GPIO_InitStruct.Pin = GPIO_PIN_0;
  GPIO_InitStruct.Mode = GPIO_MODE_OUTPUT_OD;
  GPIO_InitStruct.Pull = GPIO_NOPULL;
  GPIO_InitStruct.Speed = GPIO_SPEED_FREQ_LOW;
  HAL_GPIO_Init(GPIOI, &GPIO_InitStruct);

  /*Configure GPIO pin : PE3 */
  GPIO_InitStruct.Pin = GPIO_PIN_3;
  GPIO_InitStruct.Mode = GPIO_MODE_OUTPUT_PP;
  GPIO_InitStruct.Pull = GPIO_NOPULL;
  GPIO_InitStruct.Speed = GPIO_SPEED_FREQ_LOW;
  HAL_GPIO_Init(GPIOE, &GPIO_InitStruct);

  /*Configure GPIO pins : PB9 PB8 PB0 */
  GPIO_InitStruct.Pin = GPIO_PIN_9|GPIO_PIN_8|GPIO_PIN_0;
  GPIO_InitStruct.Mode = GPIO_MODE_OUTPUT_PP;
  GPIO_InitStruct.Pull = GPIO_NOPULL;
  GPIO_InitStruct.Speed = GPIO_SPEED_FREQ_LOW;
  HAL_GPIO_Init(GPIOB, &GPIO_InitStruct);

  /*Configure GPIO pins : PH3 PH4 */
  GPIO_InitStruct.Pin = GPIO_PIN_3|GPIO_PIN_4;
  GPIO_InitStruct.Mode = GPIO_MODE_OUTPUT_PP;
  GPIO_InitStruct.Pull = GPIO_NOPULL;
  GPIO_InitStruct.Speed = GPIO_SPEED_FREQ_LOW;
  HAL_GPIO_Init(GPIOH, &GPIO_InitStruct);

  /*Configure GPIO pin : PF14 */
  GPIO_InitStruct.Pin = GPIO_PIN_14;
  GPIO_InitStruct.Mode = GPIO_MODE_INPUT;
  GPIO_InitStruct.Pull = GPIO_NOPULL;
  HAL_GPIO_Init(GPIOF, &GPIO_InitStruct);

  /*Configure GPIO pins : PD14 PD13 PD10 PD8 */
  GPIO_InitStruct.Pin = GPIO_PIN_14|GPIO_PIN_13|GPIO_PIN_10|GPIO_PIN_8;
  GPIO_InitStruct.Mode = GPIO_MODE_INPUT;
  GPIO_InitStruct.Pull = GPIO_NOPULL;
  HAL_GPIO_Init(GPIOD, &GPIO_InitStruct);

  /*Configure GPIO pin : PA6 */
  GPIO_InitStruct.Pin = GPIO_PIN_6;
  GPIO_InitStruct.Mode = GPIO_MODE_ANALOG;
  GPIO_InitStruct.Pull = GPIO_NOPULL;
  HAL_GPIO_Init(GPIOA, &GPIO_InitStruct);

  /*Configure GPIO pins : PD11 PD12 PD9 */
  GPIO_InitStruct.Pin = GPIO_PIN_11|GPIO_PIN_12|GPIO_PIN_9;
  GPIO_InitStruct.Mode = GPIO_MODE_OUTPUT_PP;
  GPIO_InitStruct.Pull = GPIO_NOPULL;
  GPIO_InitStruct.Speed = GPIO_SPEED_FREQ_LOW;
  HAL_GPIO_Init(GPIOD, &GPIO_InitStruct);

  /*Configure GPIO pin : PA5 */
  GPIO_InitStruct.Pin = GPIO_PIN_5;
  GPIO_InitStruct.Mode = GPIO_MODE_OUTPUT_PP;
  GPIO_InitStruct.Pull = GPIO_NOPULL;
  GPIO_InitStruct.Speed = GPIO_SPEED_FREQ_LOW;
  HAL_GPIO_Init(GPIOA, &GPIO_InitStruct);

  /*Configure GPIO pin : PB1 */
  GPIO_InitStruct.Pin = GPIO_PIN_1;
  GPIO_InitStruct.Mode = GPIO_MODE_ANALOG;
  GPIO_InitStruct.Pull = GPIO_NOPULL;
  HAL_GPIO_Init(GPIOB, &GPIO_InitStruct);

  /*Configure GPIO pin : PJ2 */
  GPIO_InitStruct.Pin = GPIO_PIN_2;
  GPIO_InitStruct.Mode = GPIO_MODE_INPUT;
  GPIO_InitStruct.Pull = GPIO_NOPULL;
  HAL_GPIO_Init(GPIOJ, &GPIO_InitStruct);

  /*Configure GPIO pins : PG0 PG1 */
  GPIO_InitStruct.Pin = GPIO_PIN_0|GPIO_PIN_1;
  GPIO_InitStruct.Mode = GPIO_MODE_INPUT;
  GPIO_InitStruct.Pull = GPIO_NOPULL;
  HAL_GPIO_Init(GPIOG, &GPIO_InitStruct);

  /*Configure GPIO pin : PJ3 */
  GPIO_InitStruct.Pin = GPIO_PIN_3;
  GPIO_InitStruct.Mode = GPIO_MODE_OUTPUT_PP;
  GPIO_InitStruct.Pull = GPIO_NOPULL;
  GPIO_InitStruct.Speed = GPIO_SPEED_FREQ_LOW;
  HAL_GPIO_Init(GPIOJ, &GPIO_InitStruct);

}

/* USER CODE BEGIN 4 */
void HAL_ADC_ConvCpltCallback(ADC_HandleTypeDef *hadc)
{
  //adc conversion complete callback
}
/* USER CODE END 4 */

void startTaskManager(void *argument)
{
  /* USER CODE BEGIN 5 */
  task_manager_init();
  /* Infinite loop */
  for(;;)
  {
    task_manager_loop();
  }
  /* USER CODE END 5 */
}

void StartFastTask(void *argument)
{
  /* USER CODE BEGIN StartFastTask */
  fast_task_init();
  /* Infinite loop */
  for(;;)
  {
    fast_task_loop();
  }
  /* USER CODE END StartFastTask */
}

void StartMediumTask(void *argument)
{
  /* USER CODE BEGIN StartMediumTask */
  medium_task_init();
  /* Infinite loop */
  for(;;)
  {
    medium_task_loop();
  }
  /* USER CODE END StartMediumTask */
}

void StartSlowTask(void *argument)
{
  /* USER CODE BEGIN StartSlowTask */
  slow_task_init();
  /* Infinite loop */
  for(;;)
  {
    slow_task_loop();
  }
  /* USER CODE END StartSlowTask */
}

void StartCanTask(void *argument)
{
  /* USER CODE BEGIN StartCanTask */
  task_can_tx_init();
  /* Infinite loop */
  for(;;)
  {
	task_can_tx_loop();
  }
  /* USER CODE END StartCanTask */
}

void StartCanRx(void *argument)
{
  /* USER CODE BEGIN StartCanRx */
  task_can_rx_init();
  /* Infinite loop */
  for(;;)
  {
	task_can_rx_loop();
  }
  /* USER CODE END StartCanRx */
}

 /* MPU Configuration */

void MPU_Config(void)
{
  MPU_Region_InitTypeDef MPU_InitStruct = {0};

  /* Disables the MPU */
  HAL_MPU_Disable();

  /** Initializes and configures the Region and the memory to be protected
  */
  MPU_InitStruct.Enable = MPU_REGION_ENABLE;
  MPU_InitStruct.Number = MPU_REGION_NUMBER0;
  MPU_InitStruct.BaseAddress = 0x0;
  MPU_InitStruct.Size = MPU_REGION_SIZE_4GB;
  MPU_InitStruct.SubRegionDisable = 0x87;
  MPU_InitStruct.TypeExtField = MPU_TEX_LEVEL0;
  MPU_InitStruct.AccessPermission = MPU_REGION_NO_ACCESS;
  MPU_InitStruct.DisableExec = MPU_INSTRUCTION_ACCESS_DISABLE;
  MPU_InitStruct.IsShareable = MPU_ACCESS_SHAREABLE;
  MPU_InitStruct.IsCacheable = MPU_ACCESS_NOT_CACHEABLE;
  MPU_InitStruct.IsBufferable = MPU_ACCESS_NOT_BUFFERABLE;

  HAL_MPU_ConfigRegion(&MPU_InitStruct);
  /* Enables the MPU */
  HAL_MPU_Enable(MPU_PRIVILEGED_DEFAULT);

}

void HAL_TIM_PeriodElapsedCallback(TIM_HandleTypeDef *htim)
{
  if (htim->Instance == TIM1)
  {
    HAL_IncTick();
  }
  /* USER CODE BEGIN Callback 1 */
  if (htim->Instance == TIM3)
    {
      precharge_time = 1;
    }
  /* USER CODE END Callback 1 */
}

void Error_Handler(void)
{
  __disable_irq();
  while (1)
  {
  }
}
